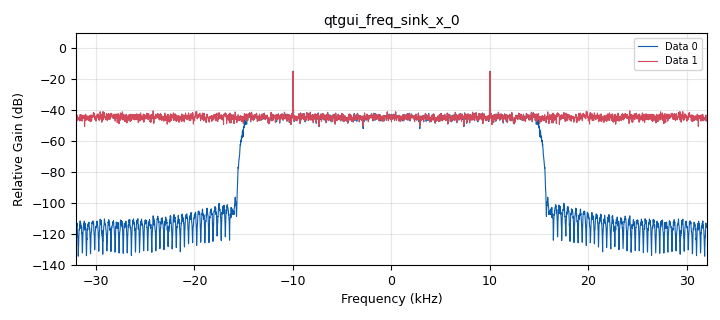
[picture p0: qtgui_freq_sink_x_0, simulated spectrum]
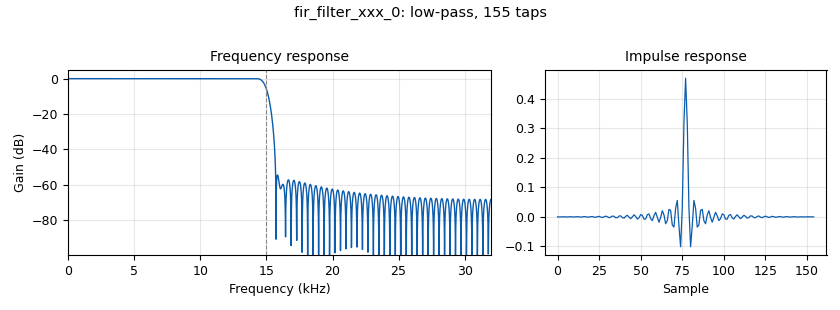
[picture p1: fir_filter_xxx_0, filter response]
options:
  parameters:
    generate_options: qt_gui
    id: FilterTap
    output_language: python
    title: FilterTap
  states: {}

blocks:
- name: Ip_taps
  id: variable_low_pass_filter_taps
  parameters:
    cutoff_freq: '15000'
    gain: '1.0'
    samp_rate: samp_rate
    width: '1000'
    win: window.WIN_HAMMING
  states: {}
- name: cutoff_high
  id: variable
  parameters:
    value: '15000'
  states: {}
- name: freq
  id: variable_qtgui_range
  parameters:
    label: freq
    start: '1000'
    step: '1000'
    stop: '25000'
    value: '10000'
  states: {}
- name: samp_rate
  id: variable
  parameters:
    value: '64000'
  states: {}
- name: sps
  id: variable
  parameters:
    value: '2'
  states: {}
- name: transition
  id: variable
  parameters:
    value: '1000'
  states: {}
- name: analog_noise_source_x_0
  id: analog_noise_source_x
  parameters:
    amp: '1'
    noise_type: analog.GR_GAUSSIAN
    seed: '0'
    type: float
  states: {}
- name: analog_sig_source_x_0
  id: analog_sig_source_x
  parameters:
    amp: '1'
    freq: '10000'
    offset: '0'
    phase: '0'
    samp_rate: samp_rate
    type: float
    waveform: analog.GR_SIN_WAVE
  states: {}
- name: blocks_add_xx_0
  id: blocks_add_xx
  parameters:
    type: float
  states: {}
- name: fir_filter_xxx_0
  id: fir_filter_xxx
  parameters:
    decim: '1'
    taps: Ip_taps
    type: fff
  states: {}
- name: qtgui_freq_sink_x_0
  id: qtgui_freq_sink_x
  parameters:
    average: '0.05'
    bw: samp_rate
    fc: '0'
    fftsize: '4096'
    nconnections: '2'
    showports: 'True'
    type: float
  states: {}

connections:
- [analog_noise_source_x_0, '0', blocks_add_xx_0, '1']
- [analog_sig_source_x_0, '0', blocks_add_xx_0, '0']
- [blocks_add_xx_0, '0', fir_filter_xxx_0, '0']
- [blocks_add_xx_0, '0', qtgui_freq_sink_x_0, '1']
- [fir_filter_xxx_0, '0', qtgui_freq_sink_x_0, '0']

metadata:
  file_format: 1
  grc_version: 3.10.12.0
